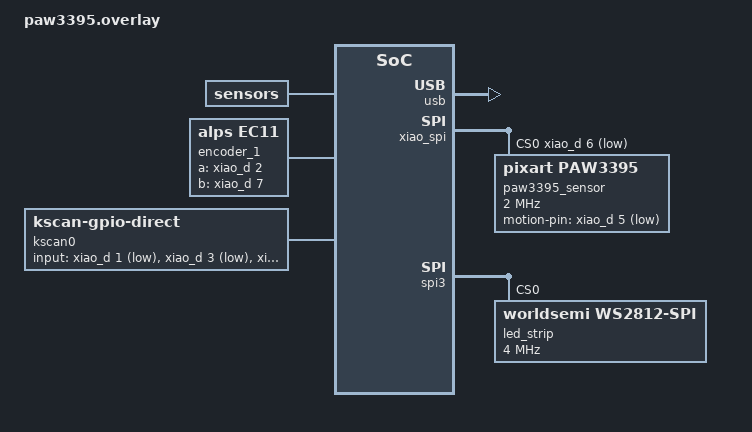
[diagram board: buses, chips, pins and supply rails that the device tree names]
// SPDX-License-Identifier: MIT

#include <dt-bindings/input/input-event-codes.h>
#include <dt-bindings/zmk/input_transform.h>
#include <dt-bindings/led/led.h>
#include "paw3395-pinctrl.dtsi"

/ {
    chosen {
        zmk,kscan = &kscan0;
        zmk,physical-layout = &paw3395_layout;
        zmk,underglow = &led_strip;
    };

    paw3395_layout: paw3395_layout {
        compatible = "zmk,physical-layout";
        display-name = "PAW3395 Mouse";
        transform = <&paw3395_transform>;
    };

    paw3395_transform: paw3395_transform {
        compatible = "zmk,input-processor-transform";
        x-codes = <INPUT_REL_X>;
        y-codes = <INPUT_REL_Y>;
        type = <INPUT_EV_REL>;
        x-invert;
        y-invert;
    };

    paw3395: paw3395 {
        compatible = "zmk,input-listener";
        device = <&paw3395_sensor>;
        input-processors = <&paw3395_transform>;
    };

    sensors {
        compatible = "zmk,sensors";
        triggers-per-rotation = <20>;
        sensors = <&encoder_1>;
    };

    encoder_1: encoder_1 {
        compatible = "alps,ec11";
        a-gpios = <&xiao_d 2 (GPIO_ACTIVE_HIGH | GPIO_PULL_UP)>;  // D2 - Scrollwheel
        b-gpios = <&xiao_d 7 (GPIO_ACTIVE_HIGH | GPIO_PULL_UP)>;  // D7 - Scrollwheel
        steps = <80>;
        status = "okay";
    };

    kscan0: kscan {
        compatible = "zmk,kscan-gpio-direct";
        wakeup-source;
        
        input-gpios
            = <&xiao_d 1 (GPIO_ACTIVE_LOW | GPIO_PULL_UP)>  // D1 - Button
            , <&xiao_d 3 (GPIO_ACTIVE_LOW | GPIO_PULL_UP)>  // D3 - Mouse switch 1
            , <&xiao_d 4 (GPIO_ACTIVE_LOW | GPIO_PULL_UP)>  // D4 - Mouse switch 2
            ;
    };

    usb {
        status = "okay";
    };
};

&xiao_spi {
    status = "okay";
    cs-gpios = <&xiao_d 6 GPIO_ACTIVE_LOW>;  // D6 - NCS signal to PAW3395

    paw3395_sensor: paw3395@0 {
        compatible = "pixart,paw3395";
        reg = <0>;
        spi-max-frequency = <2000000>;
        status = "okay";
        motion-pin-gpios = <&xiao_d 5 GPIO_ACTIVE_LOW>;  // D5 - Motion signal from PAW3395
        cpi = <26000>;
    };
};

&xiao_serial {
    status = "disabled";  // Disable UART to free up D6/D7 for other uses
};

&xiao_i2c {
    status = "disabled";  // Disable I2C to free up D4/D5 for other uses
};

// SK6812MINI-E LEDs on D0 (P0.2)
&spi3 {
    compatible = "nordic,nrf-spim";
    status = "okay";
    
    pinctrl-0 = <&spi3_led>;
    pinctrl-names = "default";

    led_strip: ws2812@0 {
        compatible = "worldsemi,ws2812-spi";
        
        /* SPI */
        reg = <0>;
        spi-max-frequency = <4000000>;

        /* WS2812 */
        chain-length = <2>; // 2x SK6812MINI-E LEDs
        spi-one-frame = <0x70>;
        spi-zero-frame = <0x40>;
        color-mapping = <LED_COLOR_ID_GREEN LED_COLOR_ID_RED LED_COLOR_ID_BLUE>;
    };
};
